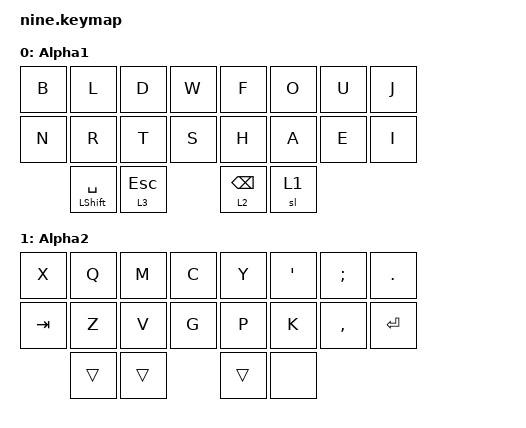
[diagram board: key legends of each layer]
/*
 * Copyright (c) 2020 The ZMK Contributors
 *
 * SPDX-License-Identifier: MIT
 */

#include <behaviors.dtsi>
#include <dt-bindings/zmk/keys.h>
#include <dt-bindings/zmk/bt.h>

&mt {
    tapping-term-ms = <200>;
    flavor = "hold-preferred";
};
&sl {
    release-after-ms = <400>;
};
 
/* Layers */
#define ALPHA1 0
#define ALPHA2 1
/ {
       keymap {
                compatible = "zmk,keymap";
                
                alpha1 {
                label = "Alpha1";
        bindings = <
            &kp B        &kp L    &kp D    &kp W                &kp F    &kp O        &kp U    &kp J
            &kp N        &kp R    &kp T    &kp S                 &kp H     &kp A         &kp E     &kp I
                        &mt LSHIFT SPC     &lt 3 ESC              &lt 2 BSPC  &sl 1
        >;
        };
                alpha2 {
                label = "Alpha2";
        bindings = <
            &kp X        &kp Q    &kp M    &kp C                &kp Y    &kp APOS        &kp SEMI    &kp DOT
            &kp TAB        &kp Z    &kp V    &kp G              &kp P     &kp K         &kp COMMA     &kp ENTER
                        &trans     &trans            &trans  &none
        >;
        };
    };
};
